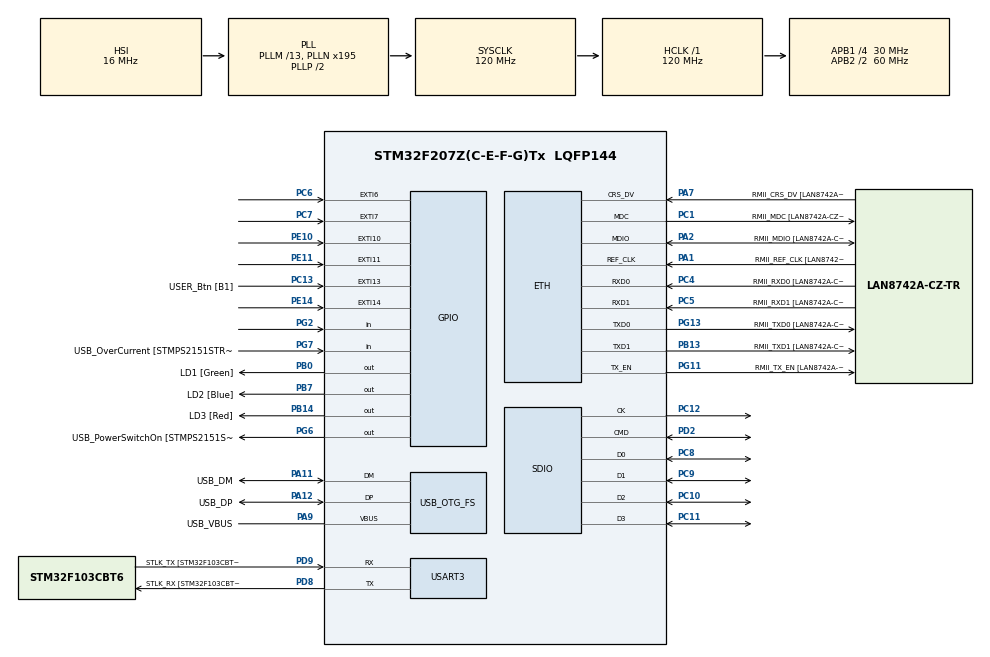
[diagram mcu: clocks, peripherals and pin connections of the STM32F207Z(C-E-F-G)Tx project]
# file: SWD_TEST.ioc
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Dma.Request0=SDIO_TX
Dma.Request1=SDIO_RX
Dma.SDIO_RX.1.Direction=DMA_PERIPH_TO_MEMORY
Dma.SDIO_RX.1.FIFOMode=DMA_FIFOMODE_ENABLE
Dma.SDIO_RX.1.FIFOThreshold=DMA_FIFO_THRESHOLD_FULL
Dma.SDIO_RX.1.Instance=DMA2_Stream3
Dma.SDIO_RX.1.MemBurst=DMA_MBURST_INC4
Dma.SDIO_RX.1.MemDataAlignment=DMA_MDATAALIGN_WORD
Dma.SDIO_RX.1.MemInc=DMA_MINC_ENABLE
Dma.SDIO_RX.1.Mode=DMA_PFCTRL
Dma.SDIO_RX.1.PeriphBurst=DMA_PBURST_INC4
Dma.SDIO_RX.1.PeriphDataAlignment=DMA_PDATAALIGN_WORD
Dma.SDIO_RX.1.PeriphInc=DMA_PINC_DISABLE
Dma.SDIO_RX.1.Priority=DMA_PRIORITY_LOW
Dma.SDIO_TX.0.Direction=DMA_MEMORY_TO_PERIPH
Dma.SDIO_TX.0.FIFOMode=DMA_FIFOMODE_ENABLE
Dma.SDIO_TX.0.FIFOThreshold=DMA_FIFO_THRESHOLD_FULL
Dma.SDIO_TX.0.Instance=DMA2_Stream6
Dma.SDIO_TX.0.MemBurst=DMA_MBURST_INC4
Dma.SDIO_TX.0.MemDataAlignment=DMA_MDATAALIGN_WORD
Dma.SDIO_TX.0.MemInc=DMA_MINC_ENABLE
Dma.SDIO_TX.0.Mode=DMA_PFCTRL
Dma.SDIO_TX.0.PeriphBurst=DMA_PBURST_INC4
Dma.SDIO_TX.0.PeriphDataAlignment=DMA_PDATAALIGN_WORD
Dma.SDIO_TX.0.PeriphInc=DMA_PINC_DISABLE
Dma.SDIO_TX.0.Priority=DMA_PRIORITY_LOW
ETH.MediaInterface=ETH_MEDIA_INTERFACE_RMII
ETH.PHY_Name=LAN8742A_PHY_ADDRESS
ETH.PHY_Value=0
ETH.PhyAddress=0
FATFS.BSP.number=1
FATFS._CODE_PAGE=949
FATFS._USE_LFN=3
FATFS._WORD_ACCESS=1
FATFS0.BSP.STBoard=false
FATFS0.BSP.api=Unknown
FATFS0.BSP.i2caddr=0
FATFS0.BSP.instance=PG2
FATFS0.BSP.ip=GPIO
FATFS0.BSP.mode=Input
FATFS0.BSP.name=Detect_SDIO
FATFS0.BSP.solution=PG2
Mcu.Family=STM32F2
Mcu.Name=STM32F207Z(C-E-F-G)Tx
Mcu.Package=LQFP144
NVIC.DMA2_Stream3_IRQn=true\:6\:0\:true\:false\:true\:false\:true
NVIC.DMA2_Stream6_IRQn=true\:6\:0\:true\:false\:true\:false\:true
NVIC.EXTI15_10_IRQn=true\:0\:0\:false\:false\:true\:true\:true
NVIC.EXTI9_5_IRQn=true\:0\:0\:false\:false\:true\:true\:true
NVIC.OTG_FS_IRQn=true\:0\:0\:false\:false\:true\:false\:true
NVIC.PriorityGroup=NVIC_PRIORITYGROUP_4
NVIC.SDIO_IRQn=true\:5\:0\:true\:false\:true\:true\:true
PA1.GPIO_Label=RMII_REF_CLK [LAN8742A-CZ-TR_REFCLK0]
PA1.Mode=RMII
PA1.Signal=ETH_REF_CLK
PA10.GPIO_Label=USB_ID
PA10.Signal=USB_OTG_FS_ID
PA11.GPIO_Label=USB_DM
PA11.Mode=Device_Only
PA11.Signal=USB_OTG_FS_DM
PA12.GPIO_Label=USB_DP
PA12.Mode=Device_Only
PA12.Signal=USB_OTG_FS_DP
PA13.GPIO_Label=TMS
PA13.Mode=Trace_Asynchronous_SW
PA13.Signal=SYS_JTMS-SWDIO
PA14.GPIO_Label=TCK
PA14.Mode=Trace_Asynchronous_SW
PA14.Signal=SYS_JTCK-SWCLK
PA2.GPIO_Label=RMII_MDIO [LAN8742A-CZ-TR_MDIO]
PA2.Mode=RMII
PA2.Signal=ETH_MDIO
PA7.GPIO_Label=RMII_CRS_DV [LAN8742A-CZ-TR_CRS_DV]
PA7.Mode=RMII
PA7.Signal=ETH_CRS_DV
PA8.GPIO_Label=USB_SOF [TP1]
PA8.Signal=USB_OTG_FS_SOF
PA9.GPIO_Label=USB_VBUS
PA9.Mode=Activate_VBUS
PA9.Signal=USB_OTG_FS_VBUS
PB0.GPIO_Label=LD1 [Green]
PB0.Signal=GPIO_Output
PB13.GPIO_Label=RMII_TXD1 [LAN8742A-CZ-TR_TXD1]
PB13.Mode=RMII
PB13.Signal=ETH_TXD1
PB14.GPIO_Label=LD3 [Red]
PB14.Signal=GPIO_Output
PB3.GPIO_Label=SWO
PB3.Mode=Trace_Asynchronous_SW
PB3.Signal=SYS_JTDO-SWO
PB7.GPIO_Label=LD2 [Blue]
PB7.Signal=GPIO_Output
PC1.GPIO_Label=RMII_MDC [LAN8742A-CZ-TR_MDC]
PC1.Mode=RMII
PC1.Signal=ETH_MDC
PC10.Mode=SD_4_bits_Wide_bus
PC10.Signal=SDIO_D2
PC11.Mode=SD_4_bits_Wide_bus
PC11.Signal=SDIO_D3
PC12.Mode=SD_4_bits_Wide_bus
PC12.Signal=SDIO_CK
PC13.GPIO_Label=USER_Btn [B1]
PC13.Signal=GPXTI13
PC14-OSC32_IN.Mode=LSE-External-Oscillator
PC14-OSC32_IN.Signal=RCC_OSC32_IN
PC15-OSC32_OUT.Mode=LSE-External-Oscillator
PC15-OSC32_OUT.Signal=RCC_OSC32_OUT
PC4.GPIO_Label=RMII_RXD0 [LAN8742A-CZ-TR_RXD0]
PC4.Mode=RMII
PC4.Signal=ETH_RXD0
PC5.GPIO_Label=RMII_RXD1 [LAN8742A-CZ-TR_RXD1]
PC5.Mode=RMII
PC5.Signal=ETH_RXD1
PC6.Signal=GPXTI6
PC7.Signal=GPXTI7
PC8.Mode=SD_4_bits_Wide_bus
PC8.Signal=SDIO_D0
PC9.Mode=SD_4_bits_Wide_bus
PC9.Signal=SDIO_D1
PD2.Mode=SD_4_bits_Wide_bus
PD2.Signal=SDIO_CMD
PD8.GPIO_Label=STLK_RX [STM32F103CBT6_PA3]
PD8.Mode=Asynchronous
PD8.Signal=USART3_TX
PD9.GPIO_Label=STLK_TX [STM32F103CBT6_PA2]
PD9.Mode=Asynchronous
PD9.Signal=USART3_RX
PE10.Signal=GPXTI10
PE11.Signal=GPXTI11
PE14.Signal=GPXTI14
PG11.GPIO_Label=RMII_TX_EN [LAN8742A-CZ-TR_TXEN]
PG11.Mode=RMII
PG11.Signal=ETH_TX_EN
PG13.GPIO_Label=RMII_TXD0 [LAN8742A-CZ-TR_TXD0]
PG13.Mode=RMII
PG13.Signal=ETH_TXD0
PG2.GPIO_PuPd=GPIO_PULLUP
PG2.Signal=GPIO_Input
PG6.GPIO_Label=USB_PowerSwitchOn [STMPS2151STR_EN]
PG6.Signal=GPIO_Output
PG7.GPIO_Label=USB_OverCurrent [STMPS2151STR_FAULT]
PG7.Signal=GPIO_Input
PH0-OSC_IN.GPIO_Label=MCO [STM32F103CBT6_PA8]
PH0-OSC_IN.Mode=HSE-External-Clock-Source
PH0-OSC_IN.Signal=RCC_OSC_IN
PH1-OSC_OUT.Mode=HSE-External-Clock-Source
PH1-OSC_OUT.Signal=RCC_OSC_OUT
ProjectManager.HeapSize=0x200
ProjectManager.StackSize=0x400
ProjectManager.TargetToolchain=STM32CubeIDE
RCC.48MHZClocksFreq_Value=48000000
RCC.AHBFreq_Value=120000000
RCC.APB1CLKDivider=RCC_HCLK_DIV4
RCC.APB1Freq_Value=30000000
RCC.APB1TimFreq_Value=60000000
RCC.APB2CLKDivider=RCC_HCLK_DIV2
RCC.APB2Freq_Value=60000000
RCC.APB2TimFreq_Value=120000000
RCC.CortexFreq_Value=120000000
RCC.HCLKFreq_Value=120000000
RCC.HSE_VALUE=8000000
RCC.HSI_VALUE=16000000
RCC.PLLM=13
RCC.PLLMUL=RCC_PLL_MUL9
RCC.PLLN=195
RCC.PLLQ=5
RCC.PRESCALERUSB=RCC_USBCLKSOURCE_PLL_DIV1_5
RCC.SYSCLKFreq_VALUE=120000000
RCC.SYSCLKSource=RCC_SYSCLKSOURCE_PLLCLK
RCC.SYSCLKSourceVirtual=RCC_SYSCLKSOURCE_PLLCLK
RCC.USBFreq_Value=48000000
RCC.VCOOutputFreq_Value=240000000
SDIO.ClockBypass=SDIO_CLOCK_BYPASS_DISABLE
SDIO.ClockDiv=10
SDIO.HardwareFlowControl=SDIO_HARDWARE_FLOW_CONTROL_DISABLE
USART3.VirtualMode=VM_ASYNC
USB_DEVICE.APP_RX_DATA_SIZE-CDC_FS=300
USB_DEVICE.APP_TX_DATA_SIZE-CDC_FS=300
USB_DEVICE.CLASS_NAME_FS=CDC
USB_DEVICE.USBD_DEBUG_LEVEL-CDC_FS=0
USB_DEVICE.USBD_SELF_POWERED-CDC_FS=0
USB_DEVICE.VirtualMode-CDC_FS=Cdc
USB_DEVICE.VirtualModeFS=Cdc_FS
USB_OTG_FS.VirtualMode=Device_Only
VP_FATFS_VS_SDIO.Mode=SDIO
VP_USB_DEVICE_VS_USB_DEVICE_CDC_FS.Mode=CDC_FS

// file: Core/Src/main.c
/* USER CODE BEGIN Header */
/**
 ******************************************************************************
 * @file           : main.c
 * @brief          : Main program body
 ******************************************************************************
 * @attention
 *
 * <h2><center>&copy; Copyright (c) 2020 STMicroelectronics.
 * All rights reserved.</center></h2>
 *
 * This software component is licensed by ST under BSD 3-Clause license,
 * the "License"; You may not use this file except in compliance with the
 * License. You may obtain a copy of the License at:
 *                        opensource.org/licenses/BSD-3-Clause
 *
 ******************************************************************************
 */
/* USER CODE END Header */
#include "main.h"
#include "fatfs.h"
#include "usb_device.h"

ETH_HandleTypeDef heth;

SD_HandleTypeDef hsd;
DMA_HandleTypeDef hdma_sdio_tx;
DMA_HandleTypeDef hdma_sdio_rx;

UART_HandleTypeDef huart3;

void SystemClock_Config(void);
static void MX_GPIO_Init(void);
static void MX_DMA_Init(void);
static void MX_ETH_Init(void);
static void MX_USART3_UART_Init(void);
static void MX_SDIO_SD_Init(void);

/* USER CODE BEGIN 0 */
void HAL_GPIO_EXTI_Callback(uint16_t GPIO_Pin) {
	switch (GPIO_Pin) {
	case GPIO_PIN_6:
		ITM_SendChar('6');
		ITM_SendChar('\r');
		ITM_SendChar('\n');
		break;
	case GPIO_PIN_7:
		ITM_SendChar('7');
		ITM_SendChar('\r');
		ITM_SendChar('\n');
		break;
	case GPIO_PIN_10:
		HAL_GPIO_TogglePin(GPIOB, GPIO_PIN_7);
		break;
	case GPIO_PIN_11:
		HAL_GPIO_TogglePin(GPIOB, GPIO_PIN_0);
		break;
	case GPIO_PIN_14:
		HAL_GPIO_TogglePin(GPIOB, GPIO_PIN_14);
		break;
	}
}

void ITM_SendStr(char* str)
{
	while(*str)
	{
		ITM_SendChar(*str);
		str++;
	}
}

/* USER CODE END 0 */

int main(void)
{

  /* MCU Configuration--------------------------------------------------------*/

  /* Reset of all peripherals, Initializes the Flash interface and the Systick. */
  HAL_Init();

  /* Configure the system clock */
  SystemClock_Config();

  /* Initialize all configured peripherals */
  MX_GPIO_Init();
  MX_DMA_Init();
  MX_ETH_Init();
  MX_USART3_UART_Init();
  MX_USB_DEVICE_Init();
  MX_SDIO_SD_Init();
  MX_FATFS_Init();
  /* USER CODE BEGIN 2 */
  HAL_Delay(100);
	DIR dp;
	FIL temp;
	FILINFO fnp;
	char buf[100];
	volatile int res;
	res=f_mount(&SDFatFS, SDPath, 1);
	sprintf(buf,"f_mount res=%d\r\n",res);
	ITM_SendStr(buf);
	res=f_open(&temp, "WriteTest.txt", FA_WRITE|FA_CREATE_ALWAYS);

	char tmp[]="Good Day YOUTUBE! 우맙니다. 자 오늘은 한도동동님!\r\n"
			"A.K.A 한 지 산 님께서 아주 특별한 컨텐츠를 진행한다고 하네요!\\r\n"
			"자 그러면 오늘의 컨텐츠! 한도동동님의 곱등이 녹차 먹방입니다!!!!\r\n"
			"춤춰요!\r\n";

	f_write(&temp, tmp, strlen(tmp), &res);
	f_close(&temp);

  /* USER CODE END 2 */

  /* Infinite loop */
	while (1) {

    /* USER CODE BEGIN 3 */
		HAL_GPIO_WritePin(GPIOG, GPIO_PIN_6, SET);
		HAL_Delay(30);
		HAL_GPIO_WritePin(GPIOG, GPIO_PIN_6, RESET);
		HAL_Delay(470);
		//ITM_SendChar('x');

	}
  /* USER CODE END 3 */
}

void SystemClock_Config(void)
{
  RCC_OscInitTypeDef RCC_OscInitStruct = {0};
  RCC_ClkInitTypeDef RCC_ClkInitStruct = {0};

  /** Initializes the RCC Oscillators according to the specified parameters
  * in the RCC_OscInitTypeDef structure.
  */
  RCC_OscInitStruct.OscillatorType = RCC_OSCILLATORTYPE_HSI;
  RCC_OscInitStruct.HSIState = RCC_HSI_ON;
  RCC_OscInitStruct.HSICalibrationValue = RCC_HSICALIBRATION_DEFAULT;
  RCC_OscInitStruct.PLL.PLLState = RCC_PLL_ON;
  RCC_OscInitStruct.PLL.PLLSource = RCC_PLLSOURCE_HSI;
  RCC_OscInitStruct.PLL.PLLM = 13;
  RCC_OscInitStruct.PLL.PLLN = 195;
  RCC_OscInitStruct.PLL.PLLP = RCC_PLLP_DIV2;
  RCC_OscInitStruct.PLL.PLLQ = 5;
  if (HAL_RCC_OscConfig(&RCC_OscInitStruct) != HAL_OK)
  {
    Error_Handler();
  }
  /** Initializes the CPU, AHB and APB buses clocks
  */
  RCC_ClkInitStruct.ClockType = RCC_CLOCKTYPE_HCLK|RCC_CLOCKTYPE_SYSCLK
                              |RCC_CLOCKTYPE_PCLK1|RCC_CLOCKTYPE_PCLK2;
  RCC_ClkInitStruct.SYSCLKSource = RCC_SYSCLKSOURCE_PLLCLK;
  RCC_ClkInitStruct.AHBCLKDivider = RCC_SYSCLK_DIV1;
  RCC_ClkInitStruct.APB1CLKDivider = RCC_HCLK_DIV4;
  RCC_ClkInitStruct.APB2CLKDivider = RCC_HCLK_DIV2;

  if (HAL_RCC_ClockConfig(&RCC_ClkInitStruct, FLASH_LATENCY_3) != HAL_OK)
  {
    Error_Handler();
  }
}

static void MX_ETH_Init(void)
{

  heth.Instance = ETH;
  heth.Init.AutoNegotiation = ETH_AUTONEGOTIATION_ENABLE;
  heth.Init.PhyAddress = LAN8742A_PHY_ADDRESS;
  heth.Init.MACAddr[0] =   0x00;
  heth.Init.MACAddr[1] =   0x80;
  heth.Init.MACAddr[2] =   0xE1;
  heth.Init.MACAddr[3] =   0x00;
  heth.Init.MACAddr[4] =   0x00;
  heth.Init.MACAddr[5] =   0x00;
  heth.Init.RxMode = ETH_RXPOLLING_MODE;
  heth.Init.ChecksumMode = ETH_CHECKSUM_BY_HARDWARE;
  heth.Init.MediaInterface = ETH_MEDIA_INTERFACE_RMII;

  if (HAL_ETH_Init(&heth) != HAL_OK)
  {
    Error_Handler();
  }

}

static void MX_SDIO_SD_Init(void)
{

  hsd.Instance = SDIO;
  hsd.Init.ClockEdge = SDIO_CLOCK_EDGE_RISING;
  hsd.Init.ClockBypass = SDIO_CLOCK_BYPASS_DISABLE;
  hsd.Init.ClockPowerSave = SDIO_CLOCK_POWER_SAVE_DISABLE;
  hsd.Init.BusWide = SDIO_BUS_WIDE_1B;
  hsd.Init.HardwareFlowControl = SDIO_HARDWARE_FLOW_CONTROL_DISABLE;
  hsd.Init.ClockDiv = 10;

}

static void MX_USART3_UART_Init(void)
{

  huart3.Instance = USART3;
  huart3.Init.BaudRate = 115200;
  huart3.Init.WordLength = UART_WORDLENGTH_8B;
  huart3.Init.StopBits = UART_STOPBITS_1;
  huart3.Init.Parity = UART_PARITY_NONE;
  huart3.Init.Mode = UART_MODE_TX_RX;
  huart3.Init.HwFlowCtl = UART_HWCONTROL_NONE;
  huart3.Init.OverSampling = UART_OVERSAMPLING_16;
  if (HAL_UART_Init(&huart3) != HAL_OK)
  {
    Error_Handler();
  }

}

static void MX_DMA_Init(void)
{

  /* DMA controller clock enable */
  __HAL_RCC_DMA2_CLK_ENABLE();

  /* DMA interrupt init */
  /* DMA2_Stream3_IRQn interrupt configuration */
  HAL_NVIC_SetPriority(DMA2_Stream3_IRQn, 6, 0);
  HAL_NVIC_EnableIRQ(DMA2_Stream3_IRQn);
  /* DMA2_Stream6_IRQn interrupt configuration */
  HAL_NVIC_SetPriority(DMA2_Stream6_IRQn, 6, 0);
  HAL_NVIC_EnableIRQ(DMA2_Stream6_IRQn);

}

static void MX_GPIO_Init(void)
{
  GPIO_InitTypeDef GPIO_InitStruct = {0};

  /* GPIO Ports Clock Enable */
  __HAL_RCC_GPIOC_CLK_ENABLE();
  __HAL_RCC_GPIOH_CLK_ENABLE();
  __HAL_RCC_GPIOA_CLK_ENABLE();
  __HAL_RCC_GPIOB_CLK_ENABLE();
  __HAL_RCC_GPIOE_CLK_ENABLE();
  __HAL_RCC_GPIOD_CLK_ENABLE();
  __HAL_RCC_GPIOG_CLK_ENABLE();

  /*Configure GPIO pin Output Level */
  HAL_GPIO_WritePin(GPIOB, LD1_Pin|LD3_Pin|LD2_Pin, GPIO_PIN_RESET);

  /*Configure GPIO pin Output Level */
  HAL_GPIO_WritePin(USB_PowerSwitchOn_GPIO_Port, USB_PowerSwitchOn_Pin, GPIO_PIN_RESET);

  /*Configure GPIO pins : USER_Btn_Pin PC6 PC7 */
  GPIO_InitStruct.Pin = USER_Btn_Pin|GPIO_PIN_6|GPIO_PIN_7;
  GPIO_InitStruct.Mode = GPIO_MODE_IT_RISING;
  GPIO_InitStruct.Pull = GPIO_NOPULL;
  HAL_GPIO_Init(GPIOC, &GPIO_InitStruct);

  /*Configure GPIO pins : LD1_Pin LD3_Pin LD2_Pin */
  GPIO_InitStruct.Pin = LD1_Pin|LD3_Pin|LD2_Pin;
  GPIO_InitStruct.Mode = GPIO_MODE_OUTPUT_PP;
  GPIO_InitStruct.Pull = GPIO_NOPULL;
  GPIO_InitStruct.Speed = GPIO_SPEED_FREQ_LOW;
  HAL_GPIO_Init(GPIOB, &GPIO_InitStruct);

  /*Configure GPIO pins : PE10 PE11 PE14 */
  GPIO_InitStruct.Pin = GPIO_PIN_10|GPIO_PIN_11|GPIO_PIN_14;
  GPIO_InitStruct.Mode = GPIO_MODE_IT_RISING;
  GPIO_InitStruct.Pull = GPIO_NOPULL;
  HAL_GPIO_Init(GPIOE, &GPIO_InitStruct);

  /*Configure GPIO pin : PG2 */
  GPIO_InitStruct.Pin = GPIO_PIN_2;
  GPIO_InitStruct.Mode = GPIO_MODE_INPUT;
  GPIO_InitStruct.Pull = GPIO_PULLUP;
  HAL_GPIO_Init(GPIOG, &GPIO_InitStruct);

  /*Configure GPIO pin : USB_PowerSwitchOn_Pin */
  GPIO_InitStruct.Pin = USB_PowerSwitchOn_Pin;
  GPIO_InitStruct.Mode = GPIO_MODE_OUTPUT_PP;
  GPIO_InitStruct.Pull = GPIO_NOPULL;
  GPIO_InitStruct.Speed = GPIO_SPEED_FREQ_LOW;
  HAL_GPIO_Init(USB_PowerSwitchOn_GPIO_Port, &GPIO_InitStruct);

  /*Configure GPIO pin : USB_OverCurrent_Pin */
  GPIO_InitStruct.Pin = USB_OverCurrent_Pin;
  GPIO_InitStruct.Mode = GPIO_MODE_INPUT;
  GPIO_InitStruct.Pull = GPIO_NOPULL;
  HAL_GPIO_Init(USB_OverCurrent_GPIO_Port, &GPIO_InitStruct);

  /* EXTI interrupt init*/
  HAL_NVIC_SetPriority(EXTI9_5_IRQn, 0, 0);
  HAL_NVIC_EnableIRQ(EXTI9_5_IRQn);

  HAL_NVIC_SetPriority(EXTI15_10_IRQn, 0, 0);
  HAL_NVIC_EnableIRQ(EXTI15_10_IRQn);

}

void Error_Handler(void)
{
}

/************************ (C) COPYRIGHT STMicroelectronics *****END OF FILE****/
